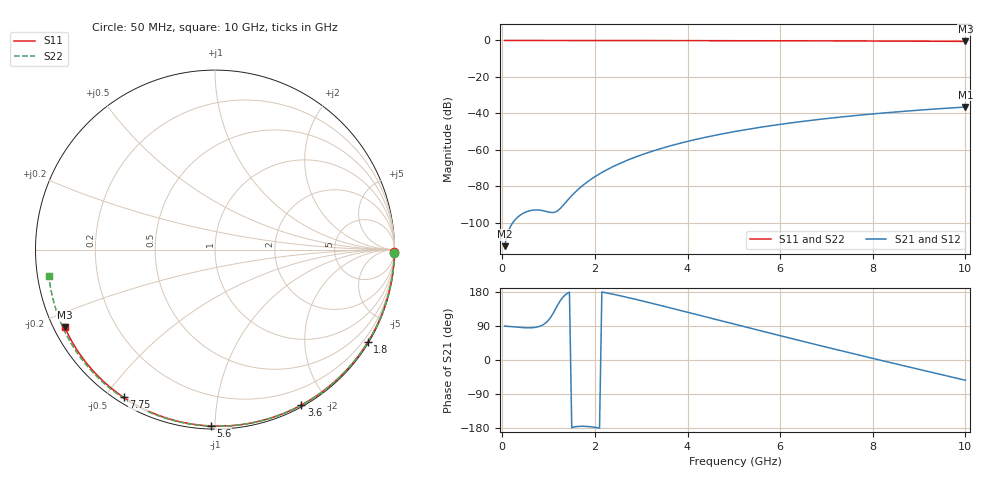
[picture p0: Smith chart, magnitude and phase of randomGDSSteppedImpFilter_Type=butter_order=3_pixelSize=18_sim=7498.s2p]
! freq	dB(S11)	phase(S11)	dB(S12)	phase(S12)
!  dB(S21)	phase(S21)	dB(S22)	phase(S22)
!S-par simulation data
#  GHz  S  DB  R 50
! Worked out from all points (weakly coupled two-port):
!   200 points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, 50 MHz to 10 GHz, reference 50 ohm
!   highest |S21| = -36.56 dB at 10 GHz (marker M1); lowest = -112.9 dB at 50 MHz (marker M2)
!   lowest |S11| = -0.5 dB at 10 GHz (marker M3), VSWR 33.61, Z = 1.58 - j12.2 ohm
!   |S11| at or under -10 dB: nowhere
!   |S22| runs from -0.6 to 0.0 dB; largest |S21 - S12| = 0
!   S11 on the Smith chart (normalised r, x): 50 MHz: open; 1.8 GHz: 0.03, -3.57; 3.6 GHz: 0.02, -1.70; 5.6 GHz: 0.02, -0.97; 7.75 GHz: 0.02, -0.56; 10 GHz: 0.03, -0.24
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0.05  -0.00 -0.9  -112.93 89.5  -112.93 89.5  -0.00 -1.0
0.45  -0.01 -7.9  -94.91 85.3  -94.91 85.3  -0.01 -8.9
0.85  -0.02 -14.9  -93.30 91.1  -93.30 91.1  -0.02 -16.6
1.25  -0.03 -21.9  -92.29 156.2  -92.29 156.2  -0.03 -24.4
1.7  -0.04 -29.6  -80.38 -174.9  -80.38 -174.9  -0.04 -32.9
1.75  -0.04 -30.4  -79.34 -174.9  -79.34 -174.9  -0.04 -33.9
1.8  -0.04 -31.3  -78.34 -175.1  -78.34 -175.1  -0.04 -34.8
2.1  -0.05 -36.4  -73.23 -179.6  -73.23 -179.6  -0.05 -40.5
2.3  -0.05 -39.7  -70.42 175.9  -70.42 175.9  -0.06 -44.2
2.5  -0.06 -43.0  -67.96 170.8  -67.96 170.8  -0.06 -47.9
2.9  -0.06 -49.6  -63.77 159.5  -63.77 159.5  -0.07 -55.2
3.4  -0.08 -57.8  -59.53 144.5  -59.53 144.5  -0.09 -64.1
3.6  -0.08 -60.9  -58.06 138.4  -58.06 138.4  -0.09 -67.7
4.3  -0.10 -71.9  -53.65 116.7  -53.65 116.7  -0.11 -79.8
5.05  -0.13 -83.3  -49.87 93.4  -49.87 93.4  -0.14 -92.3
5.6  -0.15 -91.4  -47.56 76.4  -47.56 76.4  -0.17 -101.3
6.15  -0.18 -99.4  -45.54 59.6  -45.54 59.6  -0.20 -110.1
6.7  -0.21 -107.2  -43.76 42.9  -43.76 42.9  -0.23 -118.8
7.75  -0.28 -121.8  -40.92 11.6  -40.92 11.6  -0.31 -135.1
8.35  -0.33 -130.0  -39.56 -6.0  -39.56 -6.0  -0.37 -144.5
9.2  -0.42 -141.6  -37.89 -30.5  -37.89 -30.5  -0.46 -157.9
10  -0.52 -152.6  -36.56 -53.4  -36.56 -53.4  -0.56 -170.9
